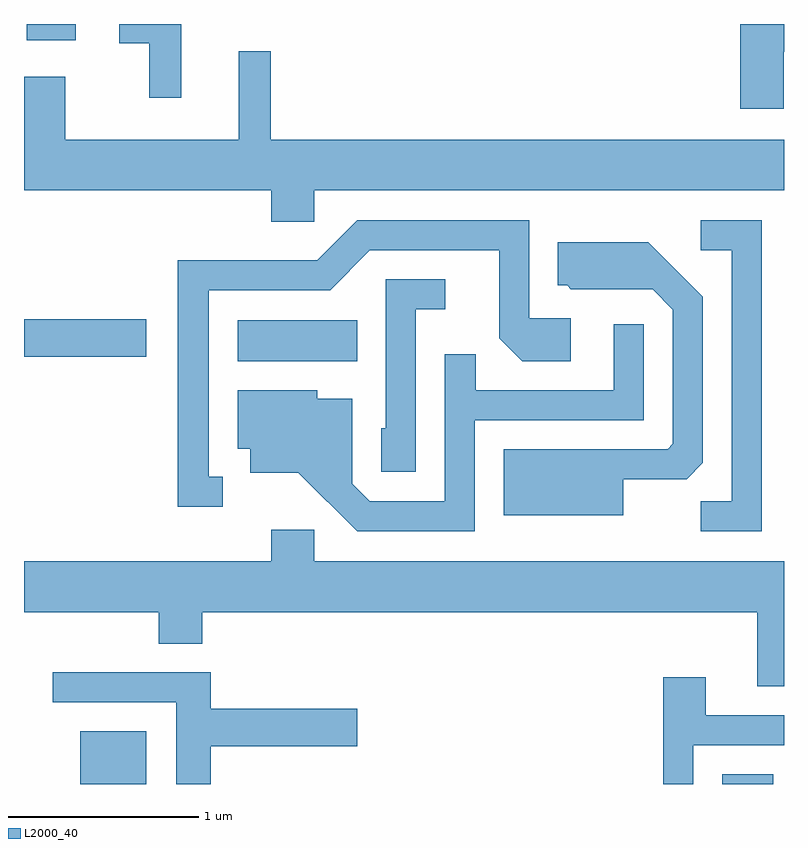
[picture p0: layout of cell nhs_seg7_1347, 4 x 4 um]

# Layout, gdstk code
import gdstk
lib = gdstk.Library(unit=1e-6, precision=1e-09)
def R(c, l, rs):  # rectangles x0, y0, x1, y1
    for r in rs: c.add(gdstk.rectangle(r[:2], r[2:], *l))
def P(c, l, *ps):  # polygons
    for p in ps: c.add(gdstk.Polygon(p, *l))
L2000_40 = (2000, 40)

nhs_seg7_1347 = lib.new_cell('nhs_seg7_1347')
R(nhs_seg7_1347, L2000_40, [(225.906,1762.252,226.254,1762.529), (229.286,1762.252,229.554,1762.304), (226.736,1764.476,227.364,1764.694), (225.611,1764.501,226.254,1764.699)])
P(nhs_seg7_1347, L2000_40, [(226.439,1766.252),(226.111,1766.252),(226.111,1766.151),(226.271,1766.151),(226.271,1765.863),(226.439,1765.863)],
  [(225.884,1766.252),(225.611,1766.252),(225.611,1766.251),(225.626,1766.251),(225.626,1766.166),(225.884,1766.166)],
  [(229.609,1766.106),(229.611,1766.106),(229.611,1766.252),(229.381,1766.252),(229.381,1765.806),(229.609,1765.806)],
  [(227.139,1765.376),(229.611,1765.376),(229.611,1765.644),(226.909,1765.644),(226.909,1766.108),(226.741,1766.108),(226.741,1765.644),(225.829,1765.644),(225.829,1765.974),(225.611,1765.974),(225.611,1765.376),(226.911,1765.376),(226.911,1765.211),(227.139,1765.211)],
  [(229.494,1765.219),(229.173,1765.219),(229.173,1765.061),(229.336,1765.061),(229.336,1763.739),(229.173,1763.739),(229.173,1763.581),(229.494,1763.581)],
  [(226.658,1763.869),(226.584,1763.869),(226.584,1764.851),(227.222,1764.851),(227.432,1765.061),(228.111,1765.061),(228.111,1764.599),(228.234,1764.476),(228.489,1764.476),(228.489,1764.704),(228.269,1764.704),(228.269,1765.219),(227.364,1765.219),(227.154,1765.009),(226.421,1765.009),(226.421,1763.711),(226.658,1763.711)],
  [(228.764,1763.856),(229.099,1763.856),(229.184,1763.942),(229.184,1764.817),(228.897,1765.104),(228.421,1765.104),(228.421,1764.876),(228.469,1764.876),(228.489,1764.856),(228.919,1764.856),(229.026,1764.749),(229.026,1764.042),(228.999,1764.014),(228.136,1764.014),(228.136,1763.666),(228.764,1763.666)],
  [(227.674,1764.751),(227.828,1764.751),(227.828,1764.909),(227.516,1764.909),(227.516,1764.124),(227.491,1764.124),(227.491,1763.896),(227.674,1763.896)],
  [(227.984,1764.166),(228.874,1764.166),(228.874,1764.673),(228.716,1764.673),(228.716,1764.324),(227.989,1764.324),(227.989,1764.513),(227.826,1764.513),(227.826,1763.739),(227.432,1763.739),(227.339,1763.832),(227.339,1764.279),(227.154,1764.279),(227.154,1764.324),(226.736,1764.324),(226.736,1764.016),(226.801,1764.016),(226.801,1763.891),(227.054,1763.891),(227.364,1763.581),(227.984,1763.581)],
  [(227.139,1763.589),(226.911,1763.589),(226.911,1763.424),(225.611,1763.424),(225.611,1763.156),(226.321,1763.156),(226.321,1762.991),(226.549,1762.991),(226.549,1763.156),(229.471,1763.156),(229.471,1762.766),(229.611,1762.766),(229.611,1763.424),(227.139,1763.424)],
  [(226.594,1762.451),(227.364,1762.451),(227.364,1762.649),(226.594,1762.649),(226.594,1762.839),(225.763,1762.839),(225.763,1762.681),(226.411,1762.681),(226.411,1762.252),(226.594,1762.252)],
  [(229.134,1762.456),(229.611,1762.456),(229.611,1762.614),(229.199,1762.614),(229.199,1762.814),(228.976,1762.814),(228.976,1762.252),(229.134,1762.252)])

lib.write_gds('nhs_seg7_1347.gds')
